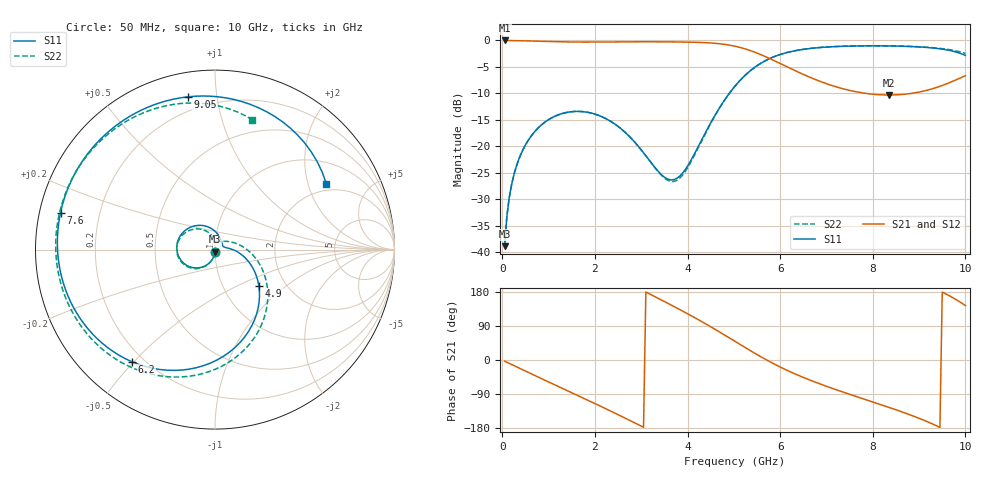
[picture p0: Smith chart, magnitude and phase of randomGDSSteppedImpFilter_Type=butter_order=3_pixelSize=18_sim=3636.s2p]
! freq	dB(S11)	phase(S11)	dB(S12)	phase(S12)
!  dB(S21)	phase(S21)	dB(S22)	phase(S22)
!S-par simulation data
#  GHz  S  DB  R 50
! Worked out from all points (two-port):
!   200 points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, 50 MHz to 10 GHz, reference 50 ohm
!   highest |S21| = -0.01 dB at 50 MHz (marker M1); lowest = -10.3 dB at 8.35 GHz (marker M2)
!   |S21| within 3 dB of the highest: start of sweep to 5.669 GHz
!   lowest |S11| = -38.9 dB at 50 MHz (marker M3), VSWR 1.02, Z = 50 - j1.14 ohm
!   |S11| at or under -10 dB: start of sweep to 4.901 GHz
!   |S22| runs from -38.9 to -1.0 dB; largest |S21 - S12| = 0
!   S11 on the Smith chart (normalised r, x): 50 MHz: 1.00, -0.02; 4.9 GHz: 1.47, -0.65; 6.2 GHz: 0.16, -0.49; 7.6 GHz: 0.06, +0.12; 9.05 GHz: 0.12, +0.83; 10 GHz: 1.72, +2.63
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0.05  -38.86 -89.1  -0.01 -3.0  -0.01 -3.0  -38.86 -89.0
0.1  -33.13 -93.7  -0.02 -5.9  -0.02 -5.9  -33.13 -93.4
0.2  -27.28 -101.2  -0.03 -11.8  -0.03 -11.8  -27.28 -100.7
0.5  -19.75 -120.2  -0.09 -29.3  -0.09 -29.3  -19.75 -118.9
1.15  -14.27 -158.8  -0.25 -66.5  -0.25 -66.5  -14.27 -155.5
1.75  -13.46 165.8  -0.32 -100.6  -0.32 -100.6  -13.47 171.8
2.2  -14.61 138.4  -0.31 -126.6  -0.31 -126.6  -14.61 147.6
2.65  -17.34 109.0  -0.27 -153.2  -0.27 -153.2  -17.34 124.0
3.4  -25.05 48.8  -0.27 160.7  -0.27 160.7  -25.15 90.6
3.8  -25.87 18.0  -0.30 135.2  -0.30 135.2  -26.24 66.5
4.25  -19.74 -0.9  -0.38 105.3  -0.38 105.3  -19.93 24.6
4.6  -14.04 -19.7  -0.55 80.6  -0.55 80.6  -14.10 -4.5
4.9  -10.02 -39.4  -0.89 58.6  -0.89 58.6  -10.04 -28.0
5.05  -8.37 -49.9  -1.15 47.4  -1.15 47.4  -8.38 -39.5
5.55  -4.50 -85.4  -2.57 10.9  -2.57 10.9  -4.49 -76.3
6.2  -2.19 -126.5  -5.20 -30.1  -5.20 -30.1  -2.17 -116.9
6.7  -1.48 -152.9  -7.18 -55.8  -7.18 -55.8  -1.46 -142.1
7.6  -1.06 166.5  -9.63 -94.5  -9.63 -94.5  -1.04 -179.5
8.35  -1.05 134.1  -10.31 -125.0  -10.31 -125.0  -1.03 152.2
9.05  -1.26 100.2  -9.67 -156.3  -9.67 -156.3  -1.23 124.2
9.55  -1.72 69.5  -8.35 176.1  -8.35 176.1  -1.61 100.6
10  -2.84 30.6  -6.67 143.6  -6.67 143.6  -2.47 73.9
